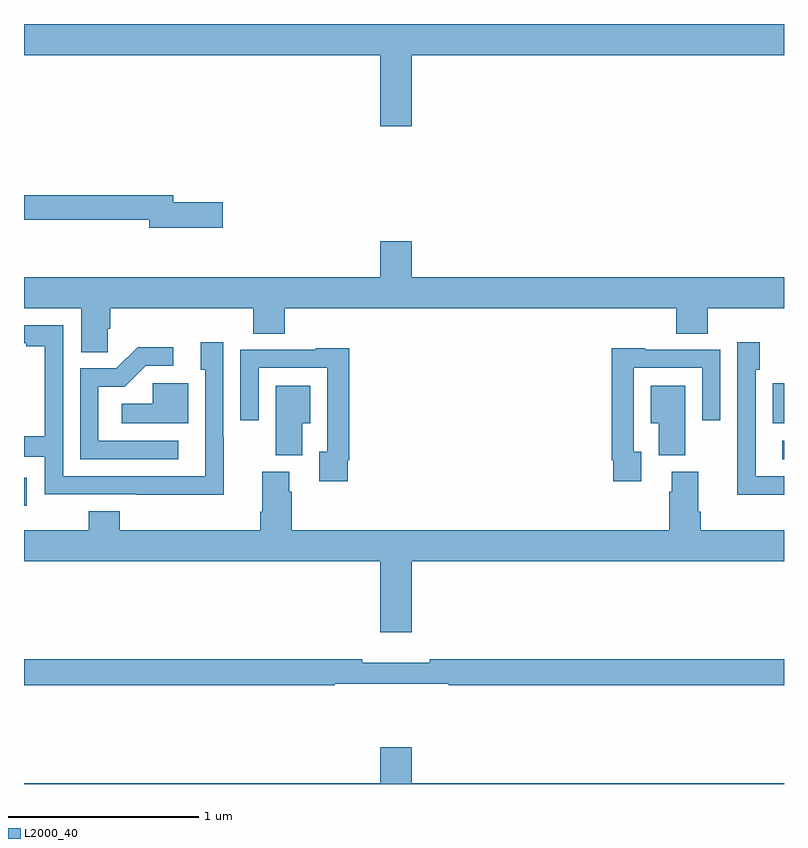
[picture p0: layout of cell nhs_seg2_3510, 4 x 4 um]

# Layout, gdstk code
import gdstk
lib = gdstk.Library(unit=1e-6, precision=1e-09)
def R(c, l, rs):  # rectangles x0, y0, x1, y1
    for r in rs: c.add(gdstk.rectangle(r[:2], r[2:], *l))
def P(c, l, *ps):  # polygons
    for p in ps: c.add(gdstk.Polygon(p, *l))
L2000_40 = (2000, 40)

nhs_seg2_3510 = lib.new_cell('nhs_seg2_3510')
R(nhs_seg2_3510, L2000_40, [(295,645.264,295.015,645.411), (298.992,645.51,299,645.606), (298.94,645.698,299,645.909)])
P(nhs_seg2_3510, L2000_40, [(297.04,647.636),(299,647.636),(299,647.8),(295,647.8),(295,647.636),(296.876,647.636),(296.876,647.262),(297.04,647.262)],
  [(296.047,646.862),(295.786,646.862),(295.786,646.898),(295,646.898),(295,646.77),(295.658,646.77),(295.658,646.727),(296.047,646.727)],
  [(295.44,646.195),(295.454,646.195),(295.454,646.304),(296.207,646.304),(296.207,646.171),(296.372,646.171),(296.372,646.304),(298.433,646.304),(298.433,646.171),(298.598,646.171),(298.598,646.304),(299,646.304),(299,646.468),(297.04,646.468),(297.04,646.657),(296.876,646.657),(296.876,646.468),(295,646.468),(295,646.304),(295.301,646.304),(295.301,646.072),(295.44,646.072)],
  [(296.051,645.626),(296.049,645.626),(296.049,646.126),(295.931,646.126),(295.931,645.981),(295.953,645.981),(295.953,645.42),(295.206,645.42),(295.206,646.215),(295,646.215),(295,646.119),(295.013,646.119),(295.013,646.104),(295.109,646.104),(295.109,645.631),(295,645.631),(295,645.522),(295.11,645.522),(295.11,645.324),(295.588,645.324),(295.588,645.323),(296.051,645.323)],
  [(299,645.42),(298.851,645.42),(298.851,645.981),(298.873,645.981),(298.873,646.126),(298.755,646.126),(298.755,645.626),(298.754,645.626),(298.754,645.323),(299,645.323)],
  [(295.813,645.606),(295.392,645.606),(295.392,645.891),(295.53,645.891),(295.641,646.002),(295.786,646.002),(295.786,646.1),(295.598,646.1),(295.485,645.987),(295.296,645.987),(295.296,645.51),(295.813,645.51)],
  [(296.704,645.505),(296.711,645.505),(296.711,646.093),(296.535,646.093),(296.535,646.086),(296.139,646.086),(296.139,645.714),(296.235,645.714),(296.235,645.99),(296.595,645.99),(296.595,645.549),(296.555,645.549),(296.555,645.393),(296.704,645.393)],
  [(298.249,645.549),(298.209,645.549),(298.209,645.99),(298.569,645.99),(298.569,645.714),(298.665,645.714),(298.665,646.086),(298.269,646.086),(298.269,646.093),(298.093,646.093),(298.093,645.505),(298.101,645.505),(298.101,645.393),(298.249,645.393)],
  [(295.864,645.909),(295.677,645.909),(295.677,645.802),(295.515,645.802),(295.515,645.698),(295.864,645.698)],
  [(296.464,645.698),(296.506,645.698),(296.506,645.895),(296.324,645.895),(296.324,645.529),(296.464,645.529)],
  [(298.48,645.895),(298.298,645.895),(298.298,645.698),(298.34,645.698),(298.34,645.529),(298.48,645.529)],
  [(297.04,644.972),(299,644.972),(299,645.136),(298.562,645.136),(298.562,645.232),(298.549,645.232),(298.549,645.444),(298.409,645.444),(298.409,645.338),(298.397,645.338),(298.397,645.136),(296.408,645.136),(296.408,645.338),(296.395,645.338),(296.395,645.444),(296.255,645.444),(296.255,645.232),(296.243,645.232),(296.243,645.136),(295.505,645.136),(295.505,645.235),(295.34,645.235),(295.34,645.136),(295,645.136),(295,644.972),(296.876,644.972),(296.876,644.598),(297.04,644.598)],
  [(296.636,644.328),(297.236,644.328),(297.236,644.32),(299,644.32),(299,644.456),(297.136,644.456),(297.136,644.437),(296.78,644.437),(296.78,644.456),(295,644.456),(295,644.32),(296.636,644.32)],
  [(299,643.804),(297.04,643.804),(297.04,643.993),(296.876,643.993),(296.876,643.804),(295,643.804),(295,643.8),(299,643.8)])

lib.write_gds('nhs_seg2_3510.gds')
